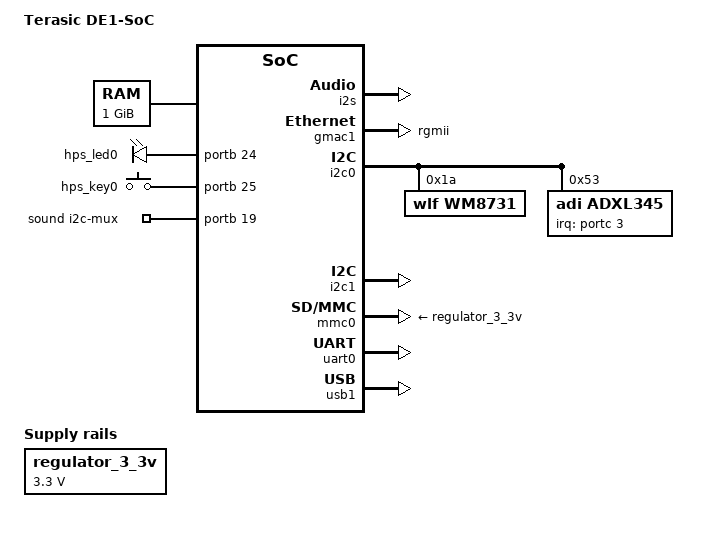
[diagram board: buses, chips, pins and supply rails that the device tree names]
/*
 *  Copyright (C) 2013 Steffen Trumtrar <s.trumtrar@pengutronix.de>
 *  Copyright (C) 2016 Stephen Arnold <nerdboy@gentoo.org>
 *
 * This program is free software; you can redistribute it and/or modify
 * it under the terms of the GNU General Public License as published by
 * the Free Software Foundation; either version 2 of the License, or
 * (at your option) any later version.
 *
 * This program is distributed in the hope that it will be useful,
 * but WITHOUT ANY WARRANTY; without even the implied warranty of
 * MERCHANTABILITY or FITNESS FOR A PARTICULAR PURPOSE.  See the
 * GNU General Public License for more details.
 *
 * You should have received a copy of the GNU General Public License
 * along with this program.  If not, see <http://www.gnu.org/licenses/>.
 */

#include "socfpga_cyclone5.dtsi"

/ {
	model = "Terasic DE1-SoC";
	compatible = "altr,socfpga-cyclone5", "altr,socfpga";

	chosen {
		bootargs = "earlyprintk";
		stdout-path = "serial0:115200n8";
	};

	memory {
		name = "memory";
		device_type = "memory";
		reg = <0x0 0x40000000>; /* 1GB */
	};

	aliases {
		ethernet0 = &gmac1;
	};

	regulator_3_3v: 3-3-v-regulator {
		compatible = "regulator-fixed";
		regulator-name = "3.3V";
		regulator-min-microvolt = <3300000>;
		regulator-max-microvolt = <3300000>;
	};

	leds {
		compatible = "gpio-leds";
		hps0 {
			label = "hps_led0";
			gpios = <&portb 24 0>;
			linux,default-trigger = "heartbeat";
		};
	};

	keys {
		compatible = "gpio-keys";
		hps0 {
			label = "hps_key0";
			gpios = <&portb 25 0>;
			linux,code = <63>;
			debounce-interval = <50>;
		};
	};

	sound {
		compatible = "opencores,de1soc-wm8731-audio";
		i2s-controller = <&i2s>;
		audio-codec = <&wm8731>;
		i2c-mux-gpio = <&portb 19 0>;
	};

	clk48: clk48 {
		compatible = "fixed-clock";
		#clock-cells = <0>;
		clock-frequency  = <24576000>;
		clock-output-names = "clk48";
	};

	clk44: clk44 {
		compatible = "fixed-clock";
		#clock-cells = <0>;
		clock-frequency  = <33868800>;
		clock-output-names = "clk44";
	};

	i2s: i2s@0x0 {
		#sound-dai-cells = <1>;
		compatible = "opencores,i2s";
		reg = <0xff200000 0x20>, <0xff200020 0x20>;
		clocks = <&clk44>, <&clk48>;
		clock-names = "clk44", "clk48";
		dmas = <&pdma 0>, <&pdma 1>;
		dma-names = "tx", "rx";
	};

	bridge@0xc0000000 {
		compatible = "altr,bridge-15.1", "simple-bus";
		reg = <0xc0000000 0x20000000 0xff200000 0x200000>;
		bridge-enable = <1>;
		#address-cells = <0x2>;
		#size-cells = <0x1>;
		ranges = <0x00000001 0x00001000 0xff201000 0x00000008>,
			<0x00000001 0x00031000 0xff231000 0x00000080>;

		sysid@0x100001000 {
			compatible = "altr,sysid-15.1", "altr,sysid-1.0";
			reg = <0x00000001 0x00001000 0x00000008>;
			id = <2899645186>;
			timestamp = <1524157570>;
		};

		vip@0x100031000 {
			compatible = "altr,vip-frame-reader-1.0", "ALTR,vip-frame-reader-14.0";
			reg = <0x00000001 0x00031000 0x00000080>;
			max-width = <1024>;
			max-height = <768>;
			bits-per-color = <0x8>;
			colors-per-beat = <0x4>;
			beats-per-pixel = <0x1>;
			mem-word-width = <0x80>;
		};
	};
};

&gmac1 {
	status = "okay";
	phy-mode = "rgmii";

	txd0-skew-ps = <0>; /* -420ps */
	txd1-skew-ps = <0>; /* -420ps */
	txd2-skew-ps = <0>; /* -420ps */
	txd3-skew-ps = <0>; /* -420ps */
	rxd0-skew-ps = <420>; /* 0ps */
	rxd1-skew-ps = <420>; /* 0ps */
	rxd2-skew-ps = <420>; /* 0ps */
	rxd3-skew-ps = <420>; /* 0ps */
	txen-skew-ps = <0>; /* -420ps */
	txc-skew-ps = <1860>; /* 960ps */
	rxdv-skew-ps = <420>; /* 0ps */
	rxc-skew-ps = <1680>; /* 780ps */

	max-frame-size = <3800>;
};

&gpio0 {
	status = "okay";
};

&gpio1 {
	status = "okay";
};

&gpio2 {
	status = "okay";
};

&i2c0 {
	status = "okay";
	speed-mode = <0>;

	wm8731: wm8731@34 {
		#sound-dai-cells = <0>;
		compatible = "wlf,wm8731";
		reg = <0x1a>;
	};

	adxl345: adxl345@0 {
		compatible = "adi,adxl345";
		reg = <0x53>;

		interrupt-parent = <&portc>;
		interrupts = <3 2>;
	};
};

&i2c1 {
	status = "okay";
	speed-mode = <0>;
};

&mmc0 {
	vmmc-supply = <&regulator_3_3v>;
	vqmmc-supply = <&regulator_3_3v>;
	status = "okay";
};

&uart0 {
	status = "okay";
};

&usb1 {
	status = "okay";
};
